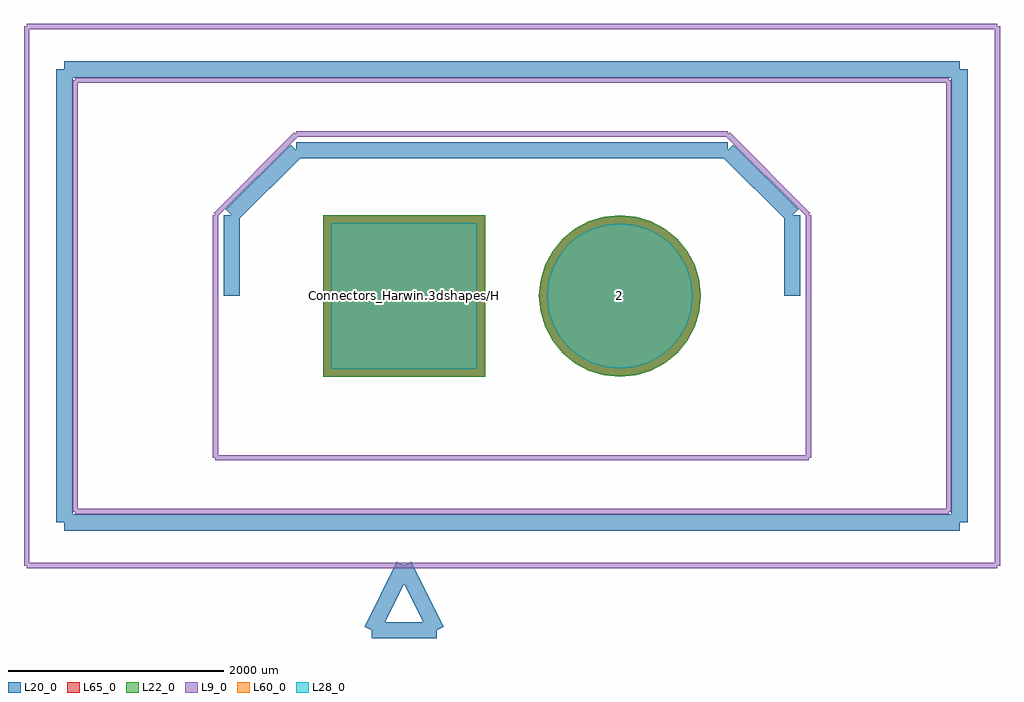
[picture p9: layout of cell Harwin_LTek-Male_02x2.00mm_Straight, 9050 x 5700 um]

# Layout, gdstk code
import gdstk
lib = gdstk.Library(unit=1e-6, precision=1e-09)
def R(c, l, rs):  # rectangles x0, y0, x1, y1
    for r in rs: c.add(gdstk.rectangle(r[:2], r[2:], *l))
def P(c, l, *ps):  # polygons
    for p in ps: c.add(gdstk.Polygon(p, *l))
L9_0 = (9, 0)
L20_0 = (20, 0)
L22_0 = (22, 0)
L28_0 = (28, 0)
L60_0 = (60, 0)
L65_0 = (65, 0)

harwin_ltek_male_02x2_00 = lib.new_cell('Harwin_LTek-Male_02x2.00mm_Straight')
R(harwin_ltek_male_02x2_00, L22_0, [(-750,-750,750,750)])
P(harwin_ltek_male_02x2_00, L22_0, [(2750,0),(2735.589,146.318),(2692.91,287.013),(2623.602,416.678),(2530.33,530.33),(2416.678,623.602),(2287.013,692.91),(2146.318,735.589),(2000,750),(1853.682,735.589),(1712.987,692.91),(1583.322,623.602),(1469.67,530.33),(1376.398,416.678),(1307.09,287.013),(1264.411,146.318),(1250,0),(1264.411,-146.318),(1307.09,-287.013),(1376.398,-416.678),(1469.67,-530.33),(1583.322,-623.602),(1712.987,-692.91),(1853.682,-735.589),(2000,-750),(2146.318,-735.589),(2287.013,-692.91),(2416.678,-623.602),(2530.33,-530.33),(2623.602,-416.678),(2692.91,-287.013),(2735.589,-146.318)])
R(harwin_ltek_male_02x2_00, L28_0, [(-675,-675,675,675)])
P(harwin_ltek_male_02x2_00, L28_0, [(2675,0),(2662.03,131.686),(2623.619,258.311),(2561.242,375.01),(2477.297,477.297),(2375.01,561.242),(2258.311,623.619),(2131.686,662.03),(2000,675),(1868.314,662.03),(1741.689,623.619),(1624.99,561.242),(1522.703,477.297),(1438.758,375.01),(1376.381,258.311),(1337.97,131.686),(1325,0),(1337.97,-131.686),(1376.381,-258.311),(1438.758,-375.01),(1522.703,-477.297),(1624.99,-561.242),(1741.689,-623.619),(1868.314,-662.03),(2000,-675),(2131.686,-662.03),(2258.311,-623.619),(2375.01,-561.242),(2477.297,-477.297),(2561.242,-375.01),(2623.619,-258.311),(2662.03,-131.686)])
R(harwin_ltek_male_02x2_00, L60_0, [(-675,-675,675,675)])
P(harwin_ltek_male_02x2_00, L60_0, [(2675,0),(2662.03,131.686),(2623.619,258.311),(2561.242,375.01),(2477.297,477.297),(2375.01,561.242),(2258.311,623.619),(2131.686,662.03),(2000,675),(1868.314,662.03),(1741.689,623.619),(1624.99,561.242),(1522.703,477.297),(1438.758,375.01),(1376.381,258.311),(1337.97,131.686),(1325,0),(1337.97,-131.686),(1376.381,-258.311),(1438.758,-375.01),(1522.703,-477.297),(1624.99,-561.242),(1741.689,-623.619),(1868.314,-662.03),(2000,-675),(2131.686,-662.03),(2258.311,-623.619),(2375.01,-561.242),(2477.297,-477.297),(2561.242,-375.01),(2623.619,-258.311),(2662.03,-131.686)])
R(harwin_ltek_male_02x2_00, L65_0, [(-750,-750,750,750)])
P(harwin_ltek_male_02x2_00, L65_0, [(2750,0),(2735.589,146.318),(2692.91,287.013),(2623.602,416.678),(2530.33,530.33),(2416.678,623.602),(2287.013,692.91),(2146.318,735.589),(2000,750),(1853.682,735.589),(1712.987,692.91),(1583.322,623.602),(1469.67,530.33),(1376.398,416.678),(1307.09,287.013),(1264.411,146.318),(1250,0),(1264.411,-146.318),(1307.09,-287.013),(1376.398,-416.678),(1469.67,-530.33),(1583.322,-623.602),(1712.987,-692.91),(1853.682,-735.589),(2000,-750),(2146.318,-735.589),(2287.013,-692.91),(2416.678,-623.602),(2530.33,-530.33),(2623.602,-416.678),(2692.91,-287.013),(2735.589,-146.318)])
harwin_ltek_male_02x2_00.add(gdstk.FlexPath([(300,-3100),(0,-2500)], 149.998, ends="flush", simple_path=True, layer=20, datatype=0))  # L20_0
harwin_ltek_male_02x2_00.add(gdstk.FlexPath([(-300,-3100),(300,-3100)], 149.998, ends="flush", simple_path=True, layer=20, datatype=0))  # L20_0
harwin_ltek_male_02x2_00.add(gdstk.FlexPath([(0,-2500),(-300,-3100)], 149.998, ends="flush", simple_path=True, layer=20, datatype=0))  # L20_0
harwin_ltek_male_02x2_00.add(gdstk.FlexPath([(3000,1350),(1000,1350)], 149.998, ends="flush", simple_path=True, layer=20, datatype=0))  # L20_0
harwin_ltek_male_02x2_00.add(gdstk.FlexPath([(3600,750),(3000,1350)], 149.998, ends="flush", simple_path=True, layer=20, datatype=0))  # L20_0
harwin_ltek_male_02x2_00.add(gdstk.FlexPath([(3600,0),(3600,750)], 149.998, ends="flush", simple_path=True, layer=20, datatype=0))  # L20_0
harwin_ltek_male_02x2_00.add(gdstk.FlexPath([(-1000,1350),(1000,1350)], 149.998, ends="flush", simple_path=True, layer=20, datatype=0))  # L20_0
harwin_ltek_male_02x2_00.add(gdstk.FlexPath([(-1600,750),(-1000,1350)], 149.998, ends="flush", simple_path=True, layer=20, datatype=0))  # L20_0
harwin_ltek_male_02x2_00.add(gdstk.FlexPath([(-1600,0),(-1600,750)], 149.998, ends="flush", simple_path=True, layer=20, datatype=0))  # L20_0
harwin_ltek_male_02x2_00.add(gdstk.FlexPath([(3750,-1500),(-1750,-1500)], 50, ends="flush", simple_path=True, layer=9, datatype=0))  # L9_0
harwin_ltek_male_02x2_00.add(gdstk.FlexPath([(3750,750),(3750,-1500)], 50, ends="flush", simple_path=True, layer=9, datatype=0))  # L9_0
harwin_ltek_male_02x2_00.add(gdstk.FlexPath([(3000,1500),(3750,750)], 50, ends="flush", simple_path=True, layer=9, datatype=0))  # L9_0
harwin_ltek_male_02x2_00.add(gdstk.FlexPath([(-1000,1500),(3000,1500)], 50, ends="flush", simple_path=True, layer=9, datatype=0))  # L9_0
harwin_ltek_male_02x2_00.add(gdstk.FlexPath([(-1750,750),(-1000,1500)], 50, ends="flush", simple_path=True, layer=9, datatype=0))  # L9_0
harwin_ltek_male_02x2_00.add(gdstk.FlexPath([(-1750,-1500),(-1750,750)], 50, ends="flush", simple_path=True, layer=9, datatype=0))  # L9_0
harwin_ltek_male_02x2_00.add(gdstk.FlexPath([(5050,2000),(-3050,2000)], 50, ends="flush", simple_path=True, layer=9, datatype=0))  # L9_0
harwin_ltek_male_02x2_00.add(gdstk.FlexPath([(5050,-2000),(5050,2000)], 50, ends="flush", simple_path=True, layer=9, datatype=0))  # L9_0
harwin_ltek_male_02x2_00.add(gdstk.FlexPath([(-3050,-2000),(5050,-2000)], 50, ends="flush", simple_path=True, layer=9, datatype=0))  # L9_0
harwin_ltek_male_02x2_00.add(gdstk.FlexPath([(-3050,2000),(-3050,-2000)], 50, ends="flush", simple_path=True, layer=9, datatype=0))  # L9_0
harwin_ltek_male_02x2_00.add(gdstk.FlexPath([(5500,2500),(-3500,2500)], 50, ends="flush", simple_path=True, layer=9, datatype=0))  # L9_0
harwin_ltek_male_02x2_00.add(gdstk.FlexPath([(5500,-2500),(5500,2500)], 50, ends="flush", simple_path=True, layer=9, datatype=0))  # L9_0
harwin_ltek_male_02x2_00.add(gdstk.FlexPath([(-3500,-2500),(5500,-2500)], 50, ends="flush", simple_path=True, layer=9, datatype=0))  # L9_0
harwin_ltek_male_02x2_00.add(gdstk.FlexPath([(-3500,2500),(-3500,-2500)], 50, ends="flush", simple_path=True, layer=9, datatype=0))  # L9_0
harwin_ltek_male_02x2_00.add(gdstk.FlexPath([(5150,2100),(-3150,2100)], 149.998, ends="flush", simple_path=True, layer=20, datatype=0))  # L20_0
harwin_ltek_male_02x2_00.add(gdstk.FlexPath([(5150,-2100),(5150,2100)], 149.998, ends="flush", simple_path=True, layer=20, datatype=0))  # L20_0
harwin_ltek_male_02x2_00.add(gdstk.FlexPath([(-3150,-2100),(5150,-2100)], 149.998, ends="flush", simple_path=True, layer=20, datatype=0))  # L20_0
harwin_ltek_male_02x2_00.add(gdstk.FlexPath([(-3150,2100),(-3150,-2100)], 149.998, ends="flush", simple_path=True, layer=20, datatype=0))  # L20_0
harwin_ltek_male_02x2_00.add(gdstk.Label('Connectors_Harwin.3dshapes/Harwin_LTek-Male_02x2.00mm_Straight.wrl', (0,0), layer=12, texttype=0))
harwin_ltek_male_02x2_00.add(gdstk.Label('2', (2000,0), layer=28, texttype=0))
harwin_ltek_male_02x2_00.add(gdstk.Label('1', (0,0), layer=28, texttype=0))
harwin_ltek_male_02x2_00.add(gdstk.Label('type', (1000,-4000), layer=9, texttype=0))
harwin_ltek_male_02x2_00.add(gdstk.Label('devicename', (1000,3500), layer=9, texttype=0))

lib.write_gds('Harwin_LTek-Male_02x2.00mm_Straight.gds')
